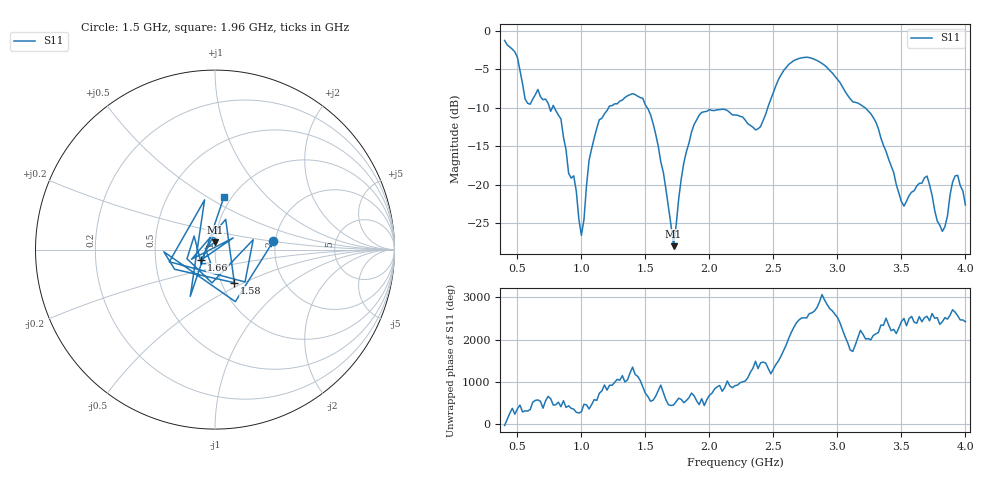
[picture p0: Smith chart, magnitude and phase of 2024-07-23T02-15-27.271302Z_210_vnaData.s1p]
!Created with skrf (http://scikit-rf.org).
# Hz S RI R 50.0
!freq ReS11 ImS11
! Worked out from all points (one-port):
!   181 points, 400 MHz to 4 GHz, reference 50 ohm
!   lowest |S11| = -27.9 dB at 1.72 GHz (marker M1), VSWR 1.08, Z = 49.7 + j3.98 ohm
!   |S11| at or under -10 dB: 789.1 MHz to 1.212 GHz (423.2 MHz wide, 42.3 % of centre); 1.514 GHz to 2.456 GHz (941.4 MHz wide, 47.4 % of centre); 3.216 GHz to end of sweep (the widest 3 of 4)
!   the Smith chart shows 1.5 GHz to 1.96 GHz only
!   S11 on the Smith chart (normalised r, x): 1.5 GHz: 1.95, +0.21; 1.58 GHz: 1.15, -0.44; 1.66 GHz: 0.85, -0.10; 1.96 GHz: 0.92, +0.59
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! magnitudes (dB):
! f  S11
! 400 MHz  -1.3
! 500 MHz  -3.5
! 580 MHz  -9.4
! 660 MHz  -7.6
! 860 MHz  -13.8
! 940 MHz  -18.8
! 1 GHz  -26.5
! 1.06 GHz  -16.8
! 1.12 GHz  -12.7
! 1.3 GHz  -9.1
! 1.5 GHz  -9.6
! 1.58 GHz  -13.4
! 1.66 GHz  -20.5
! 1.72 GHz  -27.9
! 1.76 GHz  -21.8
! 1.86 GHz  -13.2
! 1.96 GHz  -10.5
! 2.2 GHz  -10.9
! 2.38 GHz  -12.7
! 2.66 GHz  -3.9
! 3.1 GHz  -8.8
! 3.28 GHz  -11.3
! 3.5 GHz  -22.2
! 3.56 GHz  -21.4
! 3.7 GHz  -18.9
! 3.82 GHz  -26.0
! 3.92 GHz  -18.8
! 4 GHz  -22.6
